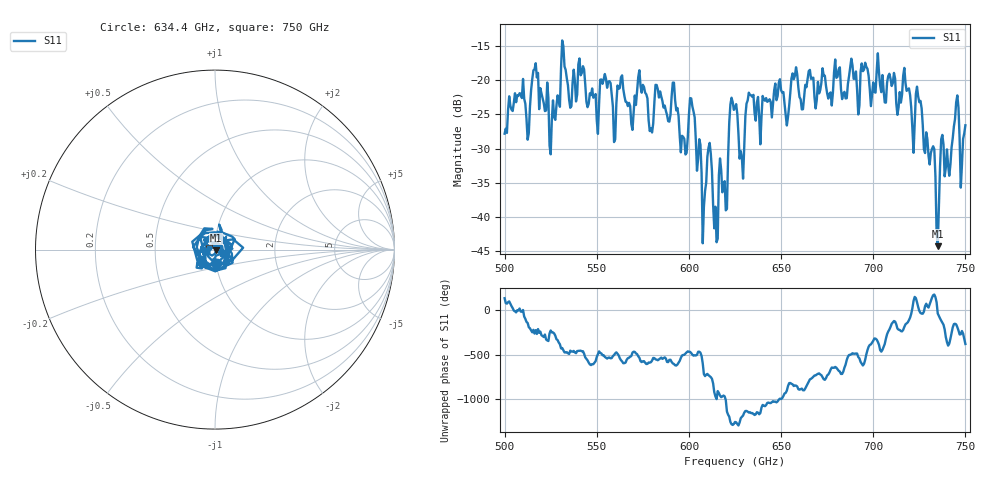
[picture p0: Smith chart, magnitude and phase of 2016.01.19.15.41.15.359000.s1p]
!Created with skrf (http://scikit-rf.org).
# GHz S RI R 50.0
!freq ReS11 ImS11
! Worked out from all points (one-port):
!   401 points, 500 GHz to 750 GHz, reference 50 ohm
!   lowest |S11| = -44.2 dB at 735 GHz (marker M1), VSWR 1.01, Z = 50.5 - j0.363 ohm
!   |S11| at or under -10 dB: start of sweep to end of sweep
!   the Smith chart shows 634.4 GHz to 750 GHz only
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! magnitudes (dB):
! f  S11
! 500 GHz  -27.8
! 508.8 GHz  -22.0
! 512.5 GHz  -28.7
! 516.9 GHz  -17.5
! 525.6 GHz  -25.8
! 531.2 GHz  -14.2
! 550 GHz  -25.8
! 555.6 GHz  -21.1
! 559.4 GHz  -29.0
! 562.5 GHz  -21.1
! 593.8 GHz  -24.1
! 598.1 GHz  -30.8
! 601.9 GHz  -23.8
! 608.1 GHz  -38.5
! 611.2 GHz  -29.2
! 614.4 GHz  -38.5
! 625 GHz  -24.0
! 628.8 GHz  -31.4
! 632.5 GHz  -21.8
! 653.1 GHz  -26.6
! 656.2 GHz  -19.0
! 687.5 GHz  -18.1
! 718.8 GHz  -21.3
! 725 GHz  -23.2
! 735 GHz  -44.2
! 745 GHz  -23.2
! 748.1 GHz  -32.4
! 750 GHz  -26.6
